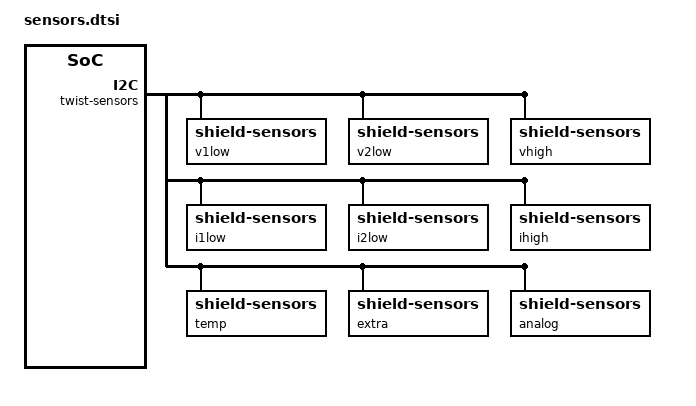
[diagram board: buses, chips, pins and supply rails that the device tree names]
/*
 * Copyright (c) 2022-2024 OwnTech.
 *
 * SPDX-License-Identifier: LGPL-2.1
 */

/ {
	twist-sensors {

		/* Voltage sensors */

		v1low: v1-low {
			compatible = "shield-sensors";
			sensor-name = "V1_LOW";
			default-gain = <0x3d3851ec>;
			default-offset = <0xc2b867f0>;
			v1-low-adc1 {
				io-channels = <&adc1 1>;
				spin-pin = <29>;
			};
			v1-low-adc2 {
				io-channels = <&adc2 1>;
				spin-pin = <29>;
			};
		};

		v2low: v2-low {
			compatible = "shield-sensors";
			sensor-name = "V2_LOW";
			default-gain = <0x3d3851ec>;
			default-offset = <0xc2b867f0>;
			v2-low-adc1 {
				io-channels = <&adc1 6>;
				spin-pin = <24>;
			};
			v2-low-adc2 {
				io-channels = <&adc2 6>;
				spin-pin = <24>;
			};
		};

		vhigh: v-high {
			compatible = "shield-sensors";
			sensor-name = "V_HIGH";
			default-gain = <0x3cf57710>;
			default-offset = <0x00000000>;
			v-high-adc1 {
				io-channels = <&adc1 9>;
				spin-pin = <27>;
			};
			v-high-adc2 {
				io-channels = <&adc2 9>;
				spin-pin = <27>;
			};
		};

		/* Current sensors */

		i1low: i1-low {
			compatible = "shield-sensors";
			sensor-name = "I1_LOW";
			default-gain = <0x3ba3d70a>;
			default-offset = <0xc1200000>;
			i1-low-adc1 {
				io-channels = <&adc1 2>;
				spin-pin = <30>;
			};
			i1-low-adc2 {
				io-channels = <&adc2 2>;
				spin-pin = <30>;
			};
		};

		i2low: i2-low {
			compatible = "shield-sensors";
			sensor-name = "I2_LOW";
			default-gain = <0x3ba3d70a>;
			default-offset = <0xc1200000>;
			i2-low-adc1 {
				io-channels = <&adc1 7>;
				spin-pin = <25>;
			};
			i2-low-adc2 {
				io-channels = <&adc2 7>;
				spin-pin = <25>;
			};
		};

		ihigh: i-high {
			compatible = "shield-sensors";
			sensor-name = "I_HIGH";
			default-gain = <0x3ba3d70a>;
			default-offset = <0xc1200000>;
			i-high-adc1 {
				io-channels = <&adc1 8>;
				spin-pin = <26>;
			};
			i-high-adc2 {
				io-channels = <&adc2 8>;
				spin-pin = <26>;
			};
		};

		/* Other sensors */

		temp: temp-sensor {
			compatible = "shield-sensors";
			sensor-name = "TEMP_SENSOR";
			default-gain = <0x3f800000>;
			default-offset = <0x00000000>;
			temp-sensor-adc3 {
				io-channels = <&adc3 12>;
				spin-pin = <31>;
			};
		};

		extra: extra-sensor {
			compatible = "shield-sensors";
			sensor-name = "EXTRA_MEAS";
			default-gain = <0x3f800000>;
			default-offset = <0x00000000>;
			analog-comm-adc4 {
				io-channels = <&adc4 5>;
				spin-pin = <6>;
			};
		};

		analog: analog-comm {
			compatible = "shield-sensors";
			sensor-name = "ANALOG_COMM";
			default-gain = <0x3f800000>;
			default-offset = <0x00000000>;
			extra-sensor-adc2 {
				io-channels = <&adc2 5>;
				spin-pin = <35>;
			};
		};
	};
};
